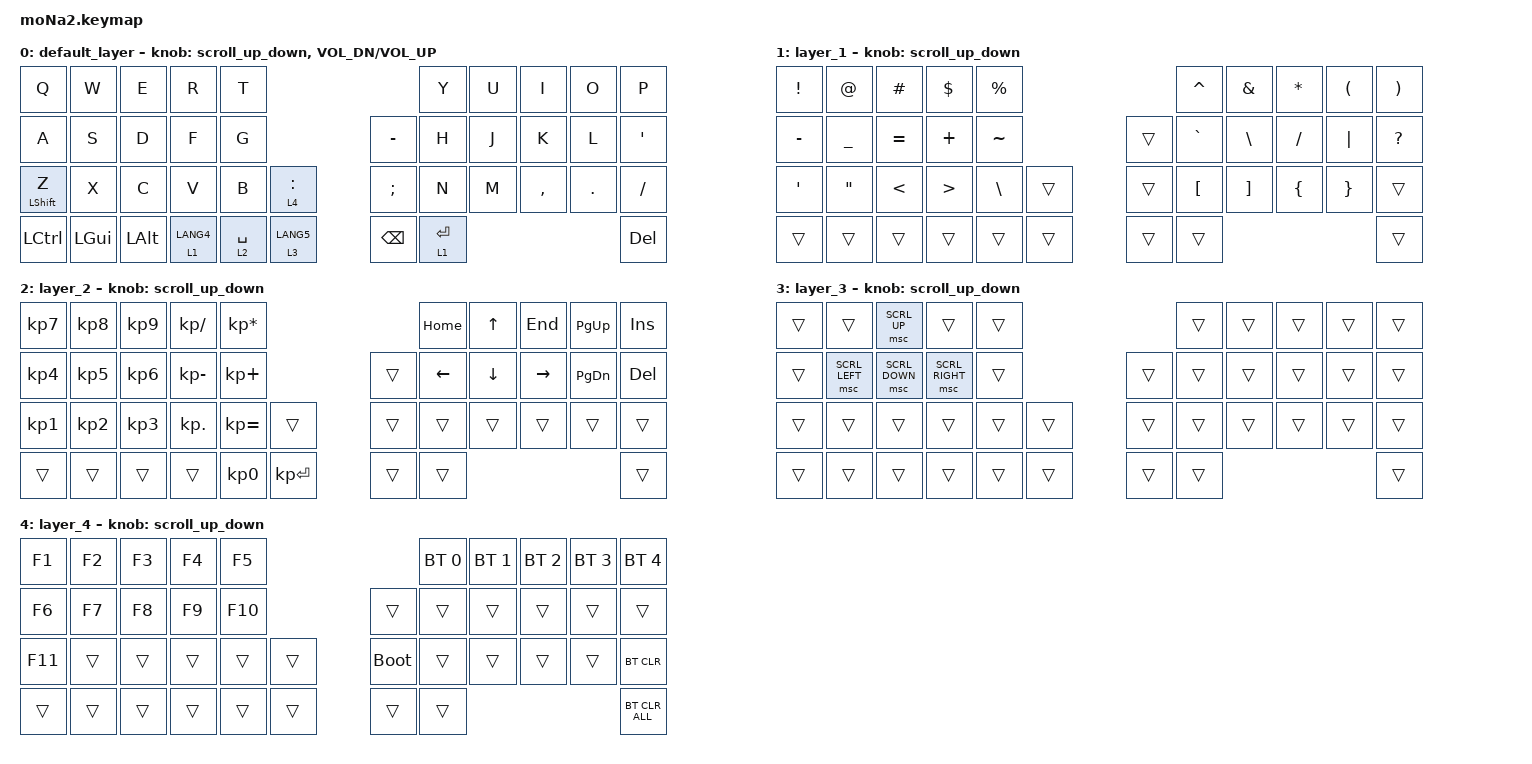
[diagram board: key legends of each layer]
// ======================= microBall / moNa2: 5 layers =========================
// 方針: L0=Base(片手クリックはコンボ) / L1=Symbols(単打) / L2=Num+Nav / L3=Scroll / L4=Fn
// ============================================================================

#include <behaviors.dtsi>
#include <dt-bindings/zmk/bt.h>
#include <dt-bindings/zmk/keys.h>
#include <dt-bindings/zmk/pointing.h>

// ---- 基本設定（スクロール） ----
#define ZMK_POINTING_DEFAULT_SCRL_VAL 100

// ---- Hold-Tap（Mod-Tap）の味付け：誤爆減らすため tap-preferred へ ----
&mt {
    flavor = "tap-preferred";     // もともと balanced → タイピング寄りに
    quick-tap-ms = <0>;
};

// ---- 既存マクロ/挙動（必要なら活用） ----
/ {
    // ----------------------- コンボ定義 -----------------------
    // ※ key-positions は「配列中の並び順インデックス」。0,1,2... をあなたの配列で数えて置換してください。
    combos {
        compatible = "zmk,combos";

        // 片手クリック（ベースで常時）：J+K=左 / K+L=右
        combo_jk_lclk {
            timeout-ms = <60>;
            require-prior-idle-ms = <120>;
            layers = <0>;
            key-positions = <34 35>;    // <<< 例: J=34, K=35 に置換
            bindings = <&mkp LCLK>;
        };
        combo_kl_rclick {
            timeout-ms = <60>;
            require-prior-idle-ms = <120>;
            layers = <0>;
            key-positions = <35 36>;    // <<< 例: K=35, L=36 に置換
            bindings = <&mkp RCLK>;
        };

        // 矢印（ホームのまま）：U+I=↑ / H+J=← / J+L=→ / M+,=↓
        combo_ui_up {
            timeout-ms = <50>;
            layers = <0>;
            key-positions = <20 21>;    // <<< U, I
            bindings = <&kp UP>;
        };
        combo_hj_left {
            timeout-ms = <50>;
            layers = <0>;
            key-positions = <33 34>;    // <<< H, J
            bindings = <&kp LEFT>;
        };
        combo_jl_right {
            timeout-ms = <50>;
            layers = <0>;
            key-positions = <34 36>;    // <<< J, L
            bindings = <&kp RIGHT>;
        };
        combo_m_comma_down {
            timeout-ms = <50>;
            layers = <0>;
            key-positions = <44 45>;    // <<< M, COMMA
            bindings = <&kp DOWN>;
        };

        // [ + ] で L3(Scroll) をモーメンタリ（両方離すと解除）
        combo_brackets_scroll {
            timeout-ms = <50>;
            slow-release;
            key-positions = <30 31>;    // <<< [, ]
            bindings = <&mo 3>;
        };

        // Q+W=Esc のような定番も欲しければ追加
        // combo_qw_esc { timeout-ms=<50>; key-positions=<0 1>; bindings=<&kp ESC>; };
    };

    // レイヤ0に戻る簡易マクロ（既存定義を残置）
    macros {
        to_layer_0: to_layer_0 {
            compatible = "zmk,behavior-macro-one-param";
            #binding-cells = <1>;
            bindings = <&to 0 &macro_param_1to1 &kp MACRO_PLACEHOLDER>;
            label = "TO_LAYER_0";
        };
    };

    // スクロール（回転センサ＝ホイール）
    behaviors {
        // layer-tap to 0（必要なら使う）
        lt_to_layer_0: lt_to_layer_0 {
            compatible = "zmk,behavior-hold-tap";
            label = "LAYER_TAP_TO_0";
            bindings = <&mo>, <&to_layer_0>;
            #binding-cells = <2>;
            tapping-term-ms = <200>;
        };

        // トラックボールの回転 → 上下スクロール
        scroll_up_down: behavior_sensor_rotate_mouse_wheel_up_down {
            compatible = "zmk,behavior-sensor-rotate";
            #sensor-binding-cells = <0>;
            bindings = <&msc SCRL_UP>, <&msc SCRL_DOWN>;
            tap-ms = <20>;
        };
    };

    // =============================== キーマップ ===============================
    keymap {
        compatible = "zmk,keymap";

        // ------------------------------ L0: Base ------------------------------
        default_layer {
            bindings = <
&kp Q             &kp W         &kp E         &kp R             &kp T                                                 &kp Y       &kp U    &kp I       &kp O      &kp P
&kp A             &kp S         &kp D         &kp F             &kp G                                   &kp MINUS     &kp H       &kp J    &kp K       &kp L      &kp SQT
&mt LEFT_SHIFT Z  &kp X         &kp C         &kp V             &kp B        &lt 4 COLON                &kp SEMICOLON &kp N       &kp M    &kp COMMA   &kp DOT    &kp SLASH
&kp LCTRL         &kp LEFT_GUI  &kp LEFT_ALT  &lt 1 LANG4       &lt 2 SPACE  &lt 3 LANG5                &kp BACKSPACE &lt 1 ENTER                                 &kp DEL
            >;

            // 回転＝スクロール、左右スワイプ＝音量（必要なら）
            sensor-bindings =
                <&scroll_up_down>,
                <&inc_dec_kp C_VOL_DN C_VOL_UP>;
        };

        // --------------------------- L1: Symbols（単打） -----------------------
        // プログラミング記号を Shift無しで直接
        layer_1 {
            bindings = <
&kp EXCLAMATION  &kp AT_SIGN    &kp HASH           &kp DOLLAR         &kp PERCENT                       &kp CARET     &kp AMPERSAND    &kp ASTERISK      &kp LEFT_PARENTHESIS   &kp RIGHT_PARENTHESIS
&kp MINUS        &kp UNDERSCORE &kp EQUAL          &kp PLUS           &kp TILDE           &trans        &kp GRAVE     &kp BACKSLASH    &kp SLASH         &kp PIPE               &kp QUESTION
&kp SQT          &kp DQT        &kp LESS_THAN      &kp GREATER_THAN   &kp BACKSLASH       &trans        &trans        &kp LEFT_BRACKET &kp RIGHT_BRACKET &kp LEFT_BRACE         &kp RIGHT_BRACE &trans
&trans           &trans         &trans             &trans             &trans              &trans        &trans        &trans                                                    &trans
            >;

            sensor-bindings = <&scroll_up_down>;
        };

        // ---------------- L2: Num+Nav（左=テンキー / 右=矢印+編集） ---------
        layer_2 {
            bindings = <
&kp KP_NUMBER_7  &kp KP_NUMBER_8  &kp KP_NUMBER_9  &kp KP_DIVIDE   &kp KP_MULTIPLY                                 &kp HOME    &kp UP      &kp END     &kp PG_UP   &kp INS
&kp KP_NUMBER_4  &kp KP_NUMBER_5  &kp KP_NUMBER_6  &kp KP_MINUS    &kp KP_PLUS                          &trans     &kp LEFT    &kp DOWN    &kp RIGHT   &kp PG_DN   &kp DEL
&kp KP_NUMBER_1  &kp KP_NUMBER_2  &kp KP_NUMBER_3  &kp KP_DOT      &kp KP_EQUAL         &trans          &trans     &trans      &trans      &trans      &trans      &trans
&trans           &trans           &trans           &trans          &kp KP_NUMBER_0      &kp KP_ENTER    &trans     &trans                              &trans
            >;

            sensor-bindings = <&scroll_up_down>;
        };

        // ---------------------------- L3: Scroll 専用 --------------------------
        // 縦/横を分離して割当（誤爆防止）。必要ならここにモード切替トグルも。
        layer_3 {
            bindings = <
&trans  &trans          &msc SCRL_UP     &trans           &trans                                                    &trans  &trans  &trans  &trans  &trans
&trans  &msc SCRL_LEFT  &msc SCRL_DOWN   &msc SCRL_RIGHT  &trans                                        &trans      &trans  &trans  &trans  &trans  &trans
&trans  &trans          &trans           &trans           &trans   &trans                               &trans      &trans  &trans  &trans  &trans  &trans
&trans  &trans          &trans           &trans           &trans   &trans                               &trans      &trans                          &trans
            >;

            sensor-bindings = <&scroll_up_down>;
        };

        // ----------------------------- L4: Fn/BT 等 ---------------------------
        layer_4 {
            bindings = <
&kp F1  &kp F2  &kp F3  &kp F4  &kp F5                                                                                &bt BT_SEL 0  &bt BT_SEL 1  &bt BT_SEL 2  &bt BT_SEL 3  &bt BT_SEL 4
&kp F6  &kp F7  &kp F8  &kp F9  &kp F10                                                                 &trans        &trans        &trans        &trans        &trans        &trans
&kp F11 &trans  &trans  &trans  &trans    &trans                                                        &bootloader   &trans        &trans        &trans        &trans        &bt BT_CLR
&trans  &trans  &trans  &trans  &trans    &trans                                                        &trans        &trans                                                  &bt BT_CLR_ALL
            >;

            sensor-bindings = <&scroll_up_down>;
        };
    };
};
